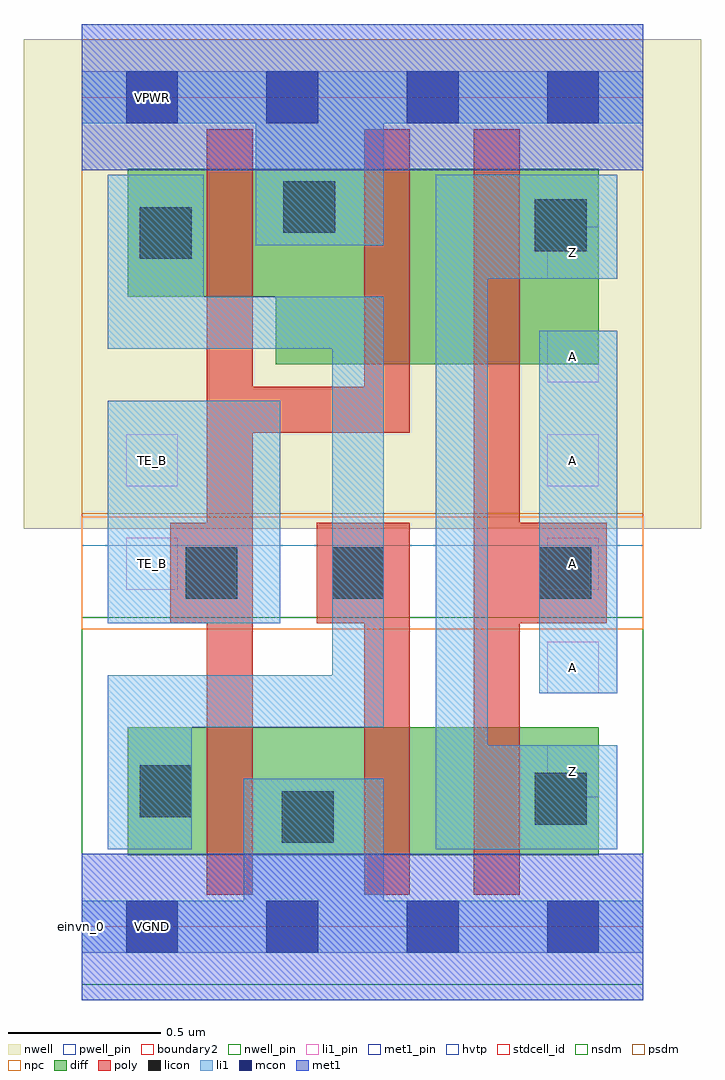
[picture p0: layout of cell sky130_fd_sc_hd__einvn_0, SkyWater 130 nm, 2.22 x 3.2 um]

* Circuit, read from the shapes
.subckt sky130_fd_sc_hd__einvn_0 A TE_B VGND VNB VPB VPWR Z
XM1 VGND TE_B n1 VNB sky130_fd_pr__nfet_01v8 w=0.42 l=0.15
XM2 n2 n1 VGND VNB sky130_fd_pr__nfet_01v8 w=0.42 l=0.15
XM3 Z A n2 VNB sky130_fd_pr__nfet_01v8 w=0.42 l=0.15
XM4 VPWR TE_B n1 VPB sky130_fd_pr__pfet_01v8_hvt w=0.42 l=0.15
XM5 n3 TE_B VPWR VPB sky130_fd_pr__pfet_01v8_hvt w=0.64 l=0.15
XM6 Z A n3 VPB sky130_fd_pr__pfet_01v8_hvt w=0.64 l=0.15
.ends

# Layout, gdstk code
import gdstk
lib = gdstk.Library(unit=1e-6, precision=1e-09)
def R(c, l, rs):  # rectangles x0, y0, x1, y1
    for r in rs: c.add(gdstk.rectangle(r[:2], r[2:], *l))
def A(c, l, x, y, w, h, nx, ny, dx, dy):  # array of equal rectangles
    R(c, l, [(x+i*dx, y+j*dy, x+i*dx+w, y+j*dy+h) for i in range(nx) for j in range(ny)])
def P(c, l, *ps):  # polygons
    for p in ps: c.add(gdstk.Polygon(p, *l))
nwell_pin = (64, 16)
nwell = (64, 20)
diff = (65, 20)
poly = (66, 20)
licon = (66, 44)
li1_pin = (67, 16)
li1 = (67, 20)
mcon = (67, 44)
met1_pin = (68, 16)
met1 = (68, 20)
hvtp = (78, 44)
stdcell_id = (81, 4)
nsdm = (93, 44)
psdm = (94, 20)
npc = (95, 20)
pwell_pin = (122, 16)
boundary2 = (236, 0)

sky130_fd_sc_hd__einvn_0 = lib.new_cell('sky130_fd_sc_hd__einvn_0')
R(sky130_fd_sc_hd__einvn_0, nwell_pin, [(0.145,2.635,0.315,2.805)])
R(sky130_fd_sc_hd__einvn_0, nwell, [(-0.19,1.305,2.03,2.91)])
R(sky130_fd_sc_hd__einvn_0, diff, [(0.15,0.235,1.695,0.655)])
P(sky130_fd_sc_hd__einvn_0, diff, [(1.695,2.485),(0.15,2.485),(0.15,2.065),(0.635,2.065),(0.635,1.845),(1.695,1.845)])
P(sky130_fd_sc_hd__einvn_0, poly, [(1.075,1.325),(0.77,1.325),(0.77,0.995),(0.925,0.995),(0.925,0.105),(1.075,0.105)],
  [(1.72,1.325),(1.435,1.325),(1.435,2.615),(1.285,2.615),(1.285,0.105),(1.435,0.105),(1.435,0.995),(1.72,0.995)],
  [(1.075,2.615),(0.925,2.615),(0.925,1.77),(0.56,1.77),(0.56,2.615),(0.41,2.615),(0.41,1.325),(0.29,1.325),(0.29,0.995),(0.41,0.995),(0.41,0.105),(0.56,0.105),(0.56,1.62),(1.075,1.62)])
R(sky130_fd_sc_hd__einvn_0, licon, [(0.655,0.275,0.825,0.445), (1.485,0.335,1.655,0.505), (0.19,0.36,0.36,0.53), (0.34,1.075,0.51,1.245), (0.82,1.075,0.99,1.245), (1.5,1.075,1.67,1.245), (0.19,2.19,0.36,2.36), (1.485,2.215,1.655,2.385), (0.66,2.275,0.83,2.445)])
A(sky130_fd_sc_hd__einvn_0, li1_pin, 1.525, 0.425, 0.17, 0.17, 1, 6, 0, 0.34)
R(sky130_fd_sc_hd__einvn_0, li1_pin, [(0.145,1.105,0.315,1.275), (0.145,1.445,0.315,1.615)])
R(sky130_fd_sc_hd__einvn_0, li1, [(1.5,0.765,1.755,1.955), (0.085,0.995,0.65,1.725)])
P(sky130_fd_sc_hd__einvn_0, li1, [(1.84,0.085),(0.99,0.085),(0.99,0.485),(0.53,0.485),(0.53,0.085),(0,0.085),(0,-0.085),(1.84,-0.085)],
  [(1.84,2.805),(0,2.805),(0,2.635),(0.57,2.635),(0.57,2.235),(0.99,2.235),(0.99,2.635),(1.84,2.635)],
  [(1.755,0.595),(1.33,0.595),(1.33,2.125),(1.755,2.125),(1.755,2.465),(1.16,2.465),(1.16,0.255),(1.755,0.255)],
  [(0.99,2.065),(0.4,2.065),(0.4,2.465),(0.085,2.465),(0.085,1.895),(0.82,1.895),(0.82,0.825),(0.085,0.825),(0.085,0.255),(0.36,0.255),(0.36,0.655),(0.99,0.655)])
A(sky130_fd_sc_hd__einvn_0, mcon, 0.145, -0.085, 0.17, 0.17, 4, 2, 0.46, 2.72)
R(sky130_fd_sc_hd__einvn_0, met1_pin, [(0.145,-0.085,0.315,0.085), (0.145,2.635,0.315,2.805)])
R(sky130_fd_sc_hd__einvn_0, hvtp, [(0,1.25,1.84,2.72)])
R(sky130_fd_sc_hd__einvn_0, stdcell_id, [(0,0,1.84,2.72)])
R(sky130_fd_sc_hd__einvn_0, nsdm, [(0,-0.19,1.84,1.015)])
R(sky130_fd_sc_hd__einvn_0, psdm, [(0,1.355,1.84,2.91)])
R(sky130_fd_sc_hd__einvn_0, npc, [(0,0.975,1.84,1.345)])
R(sky130_fd_sc_hd__einvn_0, pwell_pin, [(0.145,-0.085,0.315,0.085)])
R(sky130_fd_sc_hd__einvn_0, boundary2, [(0,0,1.84,2.72)])
sky130_fd_sc_hd__einvn_0.add(gdstk.FlexPath([(0,0),(1.84,0)], 0.48, ends="flush", simple_path=True, layer=68, datatype=20))  # met1
sky130_fd_sc_hd__einvn_0.add(gdstk.FlexPath([(0,2.72),(1.84,2.72)], 0.48, ends="flush", simple_path=True, layer=68, datatype=20))  # met1
sky130_fd_sc_hd__einvn_0.add(gdstk.Label('A', (1.61,1.87), layer=67, texttype=5))
sky130_fd_sc_hd__einvn_0.add(gdstk.Label('A', (1.61,1.53), layer=67, texttype=5))
sky130_fd_sc_hd__einvn_0.add(gdstk.Label('TE_B', (0.23,1.19), layer=67, texttype=5))
sky130_fd_sc_hd__einvn_0.add(gdstk.Label('TE_B', (0.23,1.53), layer=67, texttype=5))
sky130_fd_sc_hd__einvn_0.add(gdstk.Label('A', (1.61,1.19), layer=67, texttype=5))
sky130_fd_sc_hd__einvn_0.add(gdstk.Label('A', (1.61,0.85), layer=67, texttype=5))
sky130_fd_sc_hd__einvn_0.add(gdstk.Label('Z', (1.61,2.21), layer=67, texttype=5))
sky130_fd_sc_hd__einvn_0.add(gdstk.Label('Z', (1.61,0.51), layer=67, texttype=5))
sky130_fd_sc_hd__einvn_0.add(gdstk.Label('VPWR', (0.23,2.72), layer=68, texttype=5))
sky130_fd_sc_hd__einvn_0.add(gdstk.Label('VGND', (0.23,0), layer=68, texttype=5))
sky130_fd_sc_hd__einvn_0.add(gdstk.Label('VPB', (0.23,2.72), layer=64, texttype=5))
sky130_fd_sc_hd__einvn_0.add(gdstk.Label('VNB', (0.23,0), layer=64, texttype=59))
sky130_fd_sc_hd__einvn_0.add(gdstk.Label('einvn_0', (0,0), layer=83, texttype=44))

lib.write_gds('sky130_fd_sc_hd__einvn_0.gds')
